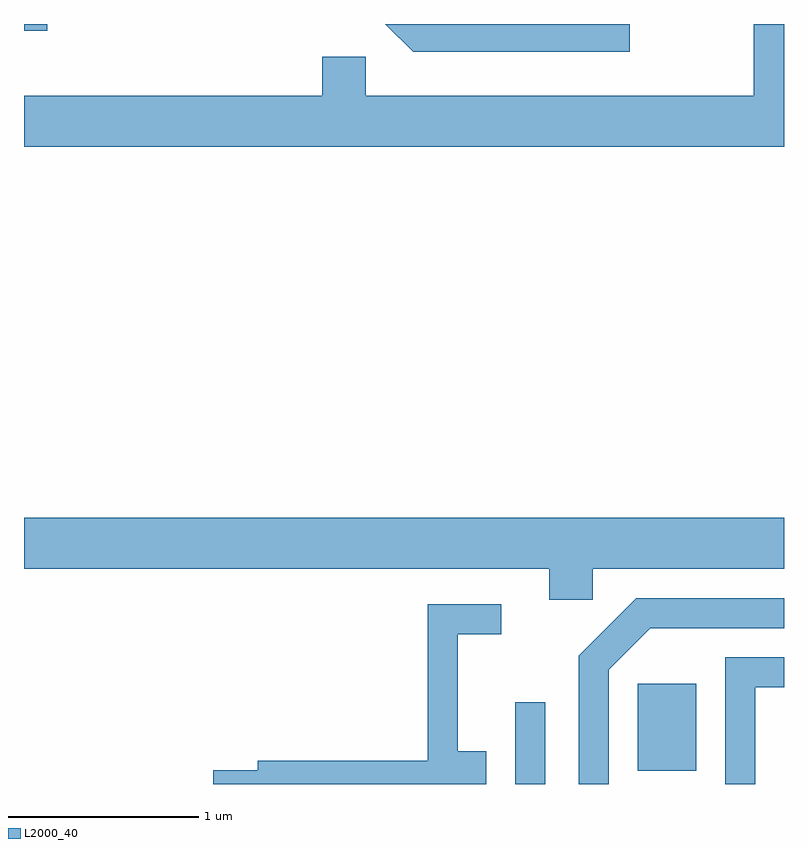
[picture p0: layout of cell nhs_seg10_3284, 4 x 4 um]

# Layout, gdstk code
import gdstk
lib = gdstk.Library(unit=1e-6, precision=1e-09)
def R(c, l, rs):  # rectangles x0, y0, x1, y1
    for r in rs: c.add(gdstk.rectangle(r[:2], r[2:], *l))
def P(c, l, *ps):  # polygons
    for p in ps: c.add(gdstk.Polygon(p, *l))
L2000_40 = (2000, 40)

nhs_seg10_3284 = lib.new_cell('nhs_seg10_3284')
R(nhs_seg10_3284, L2000_40, [(284.196,2150.522,284.354,2150.953), (284.841,2150.591,285.149,2151.049), (281.611,2154.486,281.734,2154.522)])
P(nhs_seg10_3284, L2000_40, [(285.611,2154.522),(285.451,2154.522),(285.451,2154.144),(283.409,2154.144),(283.409,2154.349),(283.181,2154.349),(283.181,2154.144),(281.611,2154.144),(281.611,2153.876),(285.611,2153.876)],
  [(284.798,2154.522),(283.513,2154.522),(283.659,2154.376),(284.798,2154.376)],
  [(284.604,2151.656),(285.611,2151.656),(285.611,2151.924),(281.611,2151.924),(281.611,2151.656),(284.376,2151.656),(284.376,2151.491),(284.604,2151.491)],
  [(284.689,2151.124),(284.907,2151.341),(285.611,2151.341),(285.611,2151.499),(284.834,2151.499),(284.531,2151.197),(284.531,2150.522),(284.689,2150.522)],
  [(284.044,2150.694),(283.894,2150.694),(283.894,2151.311),(284.123,2151.311),(284.123,2151.469),(283.736,2151.469),(283.736,2150.644),(282.841,2150.644),(282.841,2150.594),(282.606,2150.594),(282.606,2150.522),(284.044,2150.522)],
  [(285.459,2151.031),(285.611,2151.031),(285.611,2151.189),(285.301,2151.189),(285.301,2150.522),(285.459,2150.522)])

lib.write_gds('nhs_seg10_3284.gds')
